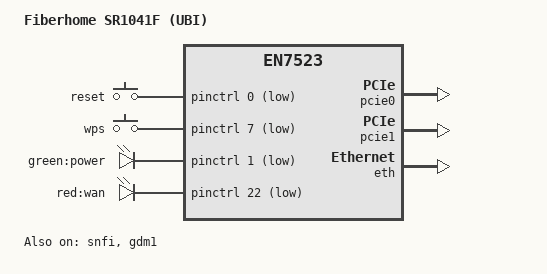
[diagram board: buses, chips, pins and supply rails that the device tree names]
// SPDX-License-Identifier: (GPL-2.0-only OR BSD-2-Clause)
/dts-v1/;

#include <dt-bindings/input/linux-event-codes.h>
#include <dt-bindings/leds/common.h>
#include "en7523.dtsi"

/ {
	model = "Fiberhome SR1041F (UBI)";
	compatible = "fiberhome,sr1041f-ubi", "airoha,en7523";

	aliases {
		serial0 = &uart1;
	};

	chosen {
		bootargs = "console=ttyS0,115200 earlycon";
		stdout-path = "serial0:115200n8";
		linux,usable-memory-range = <0x80200000 0x1fe00000>;
	};

	keys {
		compatible = "gpio-keys";

		reset {
			label = "reset";
			linux,code = <KEY_RESTART>;
			gpios = <&pinctrl 0 GPIO_ACTIVE_LOW>;
			debounce-interval = <60>;
		};

		wps {
			label = "wps";
			linux,code = <KEY_WPS_BUTTON>;
			gpios = <&pinctrl 7 GPIO_ACTIVE_LOW>;
			debounce-interval = <60>;
		};
	};

	leds {
		compatible = "gpio-leds";

		led-0 {
			label = "green:power";
			gpios = <&pinctrl 1 GPIO_ACTIVE_LOW>;
		};

		led-1 {
			label = "red:wan";
			gpios = <&pinctrl 22 GPIO_ACTIVE_LOW>;
		};
	};
};

&pcie0 {
	status = "okay";
};

&pcie1 {
	status = "okay";
};

&snfi {
	status = "okay";
};

&eth {
	status = "okay";
};

&gdm1 {
	status = "okay";
};

&spi_nand {
	partitions {
		compatible = "fixed-partitions";
		#address-cells = <1>;
		#size-cells = <1>;

		partition@0 {
			label = "bl2";
			reg = <0x0 0x20000>;
		};

		partition@20000 {
			label = "ubi";
			reg = <0x20000 0x000000>;
		};
	};
};
